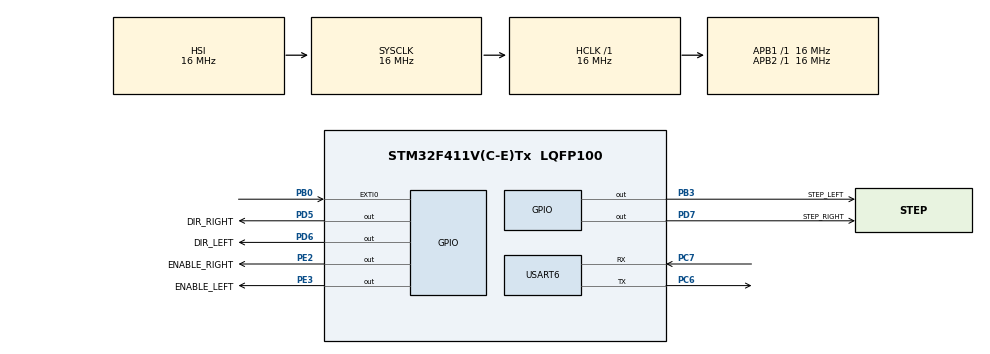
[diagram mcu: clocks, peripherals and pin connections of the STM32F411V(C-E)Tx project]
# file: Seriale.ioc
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Mcu.Family=STM32F4
Mcu.Name=STM32F411V(C-E)Tx
Mcu.Package=LQFP100
NVIC.EXTI0_IRQn=true\:0\:0\:false\:false\:true\:true\:true\:true
NVIC.PriorityGroup=NVIC_PRIORITYGROUP_4
NVIC.TIM2_IRQn=true\:0\:0\:false\:false\:true\:true\:true\:true
NVIC.USART6_IRQn=true\:0\:0\:false\:false\:true\:true\:true\:true
PB0.GPIO_ModeDefaultEXTI=GPIO_MODE_IT_RISING_FALLING
PB0.Signal=GPXTI0
PB3.GPIO_Label=STEP_LEFT
PB3.GPIO_ModeDefaultOutputPP=GPIO_MODE_OUTPUT_PP
PB3.GPIO_PuPd=GPIO_NOPULL
PB3.Signal=GPIO_Output
PC6.Mode=Asynchronous
PC6.Signal=USART6_TX
PC7.Mode=Asynchronous
PC7.Signal=USART6_RX
PD5.GPIO_Label=DIR_RIGHT
PD5.GPIO_ModeDefaultOutputPP=GPIO_MODE_OUTPUT_PP
PD5.GPIO_PuPd=GPIO_NOPULL
PD5.Signal=GPIO_Output
PD6.GPIO_Label=DIR_LEFT
PD6.GPIO_ModeDefaultOutputPP=GPIO_MODE_OUTPUT_PP
PD6.GPIO_PuPd=GPIO_NOPULL
PD6.Signal=GPIO_Output
PD7.GPIO_Label=STEP_RIGHT
PD7.GPIO_ModeDefaultOutputPP=GPIO_MODE_OUTPUT_PP
PD7.GPIO_PuPd=GPIO_NOPULL
PD7.Signal=GPIO_Output
PE2.GPIO_Label=ENABLE_RIGHT
PE2.Signal=GPIO_Output
PE3.GPIO_Label=ENABLE_LEFT
PE3.Signal=GPIO_Output
ProjectManager.HeapSize=0x200
ProjectManager.StackSize=0x400
ProjectManager.TargetToolchain=STM32CubeIDE
RCC.AHBFreq_Value=16000000
RCC.APB1Freq_Value=16000000
RCC.APB2Freq_Value=16000000
RCC.CortexFreq_Value=16000000
RCC.HSE_VALUE=25000000
RCC.HSI_VALUE=16000000
RCC.LSE_VALUE=32768
RCC.SYSCLKFreq_VALUE=16000000
RCC.VCOOutputFreq_Value=192000000
TIM2.Period=1
TIM2.Prescaler=3999
USART6.VirtualMode=VM_ASYNC
VP_TIM2_VS_ClockSourceINT.Mode=Internal
board=custom

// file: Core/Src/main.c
/* USER CODE BEGIN Header */
/**
  ******************************************************************************
  * @file           : main.c
  * @brief          : Main program body
  ******************************************************************************
  * @attention
  *
  * Copyright (c) 2024 STMicroelectronics.
  * All rights reserved.
  *
  * This software is licensed under terms that can be found in the LICENSE file
  * in the root directory of this software component.
  * If no LICENSE file comes with this software, it is provided AS-IS.
  *
  ******************************************************************************
  */
/* USER CODE END Header */
#include "main.h"

/* USER CODE BEGIN Includes */
#include <string.h>
#include <stdbool.h>
#include <stdlib.h>
#include <stdio.h>
#include <math.h>
#include <limits.h>
#include "mapOperations.h"
#include "memoryManager.h"
/* USER CODE END Includes */

TIM_HandleTypeDef htim2;

UART_HandleTypeDef huart6;

void SystemClock_Config(void);
static void MX_GPIO_Init(void);
static void MX_TIM2_Init(void);
static void MX_USART6_UART_Init(void);

/* USER CODE BEGIN 0 */

// serial variables
uint8_t rxBuffer[RX_BUFFER_SIZE];
uint8_t rxByte;
uint8_t rxIndex = 0;
char buffer[50];
uint8_t len;
char* message = "";

// number of steps of the machine
unsigned long counter = 0;

// number of steps that the machine has to do
unsigned long targetSteps = 0;

// number of steps to let the machine move slowly at the start
uint8_t counterDelay = 0;

// number of steps that the right motor has to do (because this motor is moving faster)
uint8_t stepRightCounter = 0;
bool stepOK = false;

/*
 * states of the program
 * 0 		: nothing
 * 1 -> 3 	: move the machine to the (0;0) coordinate
 * 10 -> 15	: move to a target coordinate
 */
uint8_t state = 0;

// States for when the machine is following the perimeter
typedef enum {
    STATE_INIT,
    STATE_DETERMINE_STOP_INDEX,
    STATE_MOVE_CLOCKWISE,
    STATE_MOVE_COUNTERCLOCKWISE,
    STATE_STOP,
	STATE_PERIMETER_COMPLETE,
	STATE_OBSTACLE_PERIMETER
} StatePerimeter;

// States for when the machine is going to a specific coordinate
typedef enum {
    STATE_CALCULATE_MOVEMENT,
    STATE_ROTATE,
    STATE_WAIT_FOR_ROTATION,
    STATE_MOVE_FORWARD,
    STATE_WAIT_FOR_MOVEMENT,
    STATE_UPDATE_POSITION,
    STATE_MOVE_TO_GOAL_COMPLETE,
	STATE_OBSTACLE_MOVE
} MoveToGoalState;

// States for when the machine is checking in which direction has to go
typedef enum {
    STATE_CHECK_DIRECTION_CHANGE,
    STATE_LOG_DIRECTION_CHANGE,
    STATE_CALCULATE_TARGET,
    STATE_MOVE_TO_TARGET,
    STATE_FINAL_POINT_LOG,
    STATE_SELECT_DIRECTION_COMPLETE,
	STATE_OBSTACLE_SELECT_DIRECTION
} SelectDirectionState;

// States for when the machine is going back to home (0,0)
typedef enum {
    STATE_FIND_SEGMENT,
    STATE_VERIFY_SEGMENT_FOUND,
    STATE_CALCULATE_PATH,
    STATE_FOLLOW_PATH_CLOCKWISE,
    STATE_FOLLOW_PATH_COUNTERCLOCKWISE,
    STATE_BACK_HOME_COMPLETE,
	STATE_OBSTACLE_HOME
} BackHomeState;

// States for when the machine is scanning the area
typedef enum {
    STATE_NORMAL,
    STATE_OBSTACLE,
	STATE_FINISHED
} ScanState;

StatePerimeter currentStatePerimeter = STATE_INIT; // Init state
MoveToGoalState currentStateMoveToGoal = STATE_CALCULATE_MOVEMENT; // Init state
SelectDirectionState currentStateDirection = STATE_CHECK_DIRECTION_CHANGE; // Init state
BackHomeState currentStateBackHome = STATE_FIND_SEGMENT; // Init state
ScanState stateScan = STATE_NORMAL; // Init state

// flag to stop the machine for emergency
bool stop = true;
// flag to indicate when the car has moved in the target location
bool moved = true;
//flag to indicate if there is an obstacle
bool obstacle = false;

// Flag to indicate whether the machine has moved forward to save the point in the track
bool forward = false;

// Flag to indicate whether the machine has moved backward to save the point in the track
bool backward = false;

// Flag to indicate whether the machine has moved to the right to track the number of steps and the corresponding angle change
bool right = false;

// Flag to indicate whether the machine has moved to the left to track the number of steps and the corresponding angle change
bool left = false;

// Current position of the machine in space
Point current_position = {0.0, 0.0};

// Current angle of the machine (initialized to π/2 radians, meaning it starts facing upwards)
double current_angle = M_PI / 2;

// Position of the home base
Point zero = {0.0, 0.0};

// Number of steps and rotation angle required for the machine
unsigned long steps = 0;
double rotation_angle = 0.0;
long rotation_steps = 0;

// Previous and current direction [0, 1, 2, 3, -1] -> [Up, Down, Right, Left]
int8_t previousDir;
int8_t dir;

// Column and row in the map where the process starts
int8_t startX, startY = 0;

// Rows and columns scanned vertically using the scanMatrix function
int8_t scanRows[60], scanColumns[60]; // Buffer for scan results

// Number of scans performed
uint8_t scanNumber = 0;

/**
 * @brief Handler for sensor interrupts.
 *
 * This function is called when an interrupt occurs on the GPIO pin 0. It calls the
 * `HAL_GPIO_EXTI_IRQHandler()` function to handle the interrupt for the pin.
 */
void EXTI0_0_IRQHandler(void){
	HAL_GPIO_EXTI_IRQHandler(GPIO_PIN_0);
}

/**
 * @brief Callback for sensor interrupt.
 *
 * This function is called when a GPIO interrupt is triggered. If the interrupt
 * is from GPIO pin 0, it checks the state of the obstacle sensor. If an obstacle
 * is detected, it calls `checkStates()`. Otherwise, it sends a message via UART
 * indicating that the area is free.
 *
 * @param GPIO_Pin The pin that triggered the interrupt.
 */
void HAL_GPIO_EXTI_Callback(uint16_t GPIO_Pin){
	if(GPIO_Pin == GPIO_PIN_0){
		obstacle = HAL_GPIO_ReadPin(GPIOB, GPIO_PIN_0);
		if(obstacle){
			checkStates();
		}else{
			stop = false;
			message = "Object Free!\n";
			HAL_UART_Transmit(&huart6, (uint8_t*)message, strlen(message), HAL_MAX_DELAY);
		}
	}
}

/**
 * @brief Callback function for receiving UART data.
 *
 * This function is called when UART data is received. It processes the received
 * byte, and when a newline character (`\n`) is detected, it processes the
 * complete string by calling `Process_Received_String()`. It then continues the
 * reception of data via UART.
 *
 * @param huart Pointer to the UART handle.
 */
void HAL_UART_RxCpltCallback(UART_HandleTypeDef *huart) {
    if (huart->Instance == USART6) {
        if (rxByte == '\n') {        // Controlla il terminatore '\n'
            rxBuffer[rxIndex] = '\0'; // Termina la stringa
            rxIndex = 0;              // Resetta l'indice per la prossima ricezione

            // Chiama la funzione per elaborare la stringa ricevuta
            Process_Received_String((char*)rxBuffer);

        } else if (rxByte != '\r') { // Ignora '\r'
            rxBuffer[rxIndex++] = rxByte; // Aggiungi il carattere al buffer
            if (rxIndex >= RX_BUFFER_SIZE) {
                rxIndex = 0; // Evita overflow del buffer
            }
        }

    	// Riavvia la ricezione del prossimo byte
    	HAL_UART_Receive_IT(&huart6, &rxByte, 1);
    }
}

/**
 * @brief Processes the received command string.
 *
 * This function processes the received command and performs the corresponding action
 * such as saving, erasing, checking the track, starting or stopping the robot, or controlling
 * the motors based on the parsed command. It sends status messages back via UART.
 *
 * @param str The command string received via UART.
 */
void Process_Received_String(char* str) {

    if(strcmp(str, "save") == 0){
    	save_polygon_to_flash();
    	message = "Track Saved\n";
    	HAL_UART_Transmit(&huart6, (uint8_t *)message, strlen(message), HAL_MAX_DELAY);
    }else if(strcmp(str, "erase") == 0){
    	erase_polygon();
    	message = "Track Deleted!\n";
    	HAL_UART_Transmit(&huart6, (uint8_t *)message, strlen(message), HAL_MAX_DELAY);
    }else if(strcmp(str, "check") == 0){
    	if(load_polygon_from_flash()){
    		message = "Track in memory\n";
    		HAL_UART_Transmit(&huart6, (uint8_t *)message, strlen(message), HAL_MAX_DELAY);
    	}else{
    		message = "Track not in memory\n";
    		HAL_UART_Transmit(&huart6, (uint8_t *)message, strlen(message), HAL_MAX_DELAY);
    	}
    }else if(strcmp(str, "start") == 0){
    	stop = false;
    	if(load_polygon_from_flash()){
    		message = "Track in memory\n";
    		HAL_UART_Transmit(&huart6, (uint8_t *)message, strlen(message), HAL_MAX_DELAY);
    		state = 10;
    	}else{
    		message = "Track not in memory\n";
    		HAL_UART_Transmit(&huart6, (uint8_t *)message, strlen(message), HAL_MAX_DELAY);
    	}
    }else if(strcmp(str, "stop") == 0){
    	stop = !stop;
    	if(stop){
    		message = "Machine stopped\n";
        	HAL_UART_Transmit(&huart6, (uint8_t *)message, strlen(message), HAL_MAX_DELAY);
    	}else{
    		message = "Machine in acrion\n";
        	HAL_UART_Transmit(&huart6, (uint8_t *)message, strlen(message), HAL_MAX_DELAY);
    	}

    }else if(strcmp(str, "home") == 0){
    	message = "Machine is going back Home...\n";
    	HAL_UART_Transmit(&huart6, (uint8_t *)message, strlen(message), HAL_MAX_DELAY);
    	state = 1;
    }else if(strcmp(str, "1") == 0){
    	//caso 1 verificato
    	add_boundary_point(0, 28000);
    	add_boundary_point(28000, 28000);
    	add_boundary_point(28000, 0);
    	add_boundary_point(0, 0);
    }else if(strcmp(str, "2") == 0){
    	//caso 2 verificato
    	add_boundary_point(-3500, 28000);
    	add_boundary_point(21000, 28000);
    	add_boundary_point(24500, 0);
    	add_boundary_point(0, 0);
    }else if(strcmp(str, "3") == 0){
    	//caso 3 verificato
    	add_boundary_point(3500, 28000);
    	add_boundary_point(28000, 28000);
    	add_boundary_point(24500, 0);
    	add_boundary_point(0, 0);
    }else if(strcmp(str, "4") == 0){
    	//caso 4 verificato
    	add_boundary_point(3500, 28000);
    	add_boundary_point(28000, 24500);
    	add_boundary_point(24500, 3500);
    	add_boundary_point(0, 0);
    }else if(strcmp(str, "5") == 0){
    	//caso 5 verificato:
    	add_boundary_point(0, 28000);
    	add_boundary_point(-28000, 28000);
    	add_boundary_point(-28000, 0);
    	add_boundary_point(0, 0);
    }else if(strcmp(str, "6") == 0){
    	//caso 6 verificato:
    	add_boundary_point(0, -28000);
    	add_boundary_point(-28000, -28000);
    	add_boundary_point(-28000, 0);
    	add_boundary_point(0, 0);
    }else if(strcmp(str, "7") == 0){
    	//caso 7 verificato:
    	add_boundary_point(0, 10500);
    	add_boundary_point(10500, 10500);
    	add_boundary_point(10500, 21000);
    	add_boundary_point(0, 21000);
    	add_boundary_point(0, 28000);
    	add_boundary_point(17500, 28000);
    	add_boundary_point(17500, 21000);
    	add_boundary_point(24500, 21000);
    	add_boundary_point(24500, 28000);
    	add_boundary_point(28000, 28000);
    	add_boundary_point(28000, 0);
    	add_boundary_point(0, 0);
    }else {
        // Find ':' and ';' characters in the string
        char *colon_ptr = strchr(str, ':');
        char *semicolon_ptr = strchr(str, ';');

        // Verify that both characters are present and in the correct position
        if (colon_ptr != NULL && semicolon_ptr != NULL && semicolon_ptr > colon_ptr) {
            if(state == 0){
                *semicolon_ptr = '\0';  // Terminate the string after the second part
                char *part1 = str;
                char *part2 = colon_ptr + 1;

                *colon_ptr = '\0';  // Terminate the first part

                // Convert parts to integers
                int angle = atoi(part1);
                int force = atoi(part2);

                // Use angle and power as needed
                len = snprintf(buffer, sizeof(buffer), "%d:%d;\n", angle, force);
                HAL_UART_Transmit(&huart6, (uint8_t*)buffer, len, HAL_MAX_DELAY);

                Control_Motors(angle, force);
            } else {
                message = "Mower still in motion, please wait for the process to complete\n";
                HAL_UART_Transmit(&huart6, (uint8_t *)buffer, strlen(message), HAL_MAX_DELAY);
            }
        } else {
            len = snprintf(buffer, sizeof(buffer), "Not valid: %s", str);
            HAL_UART_Transmit(&huart6, (uint8_t*)buffer, len, HAL_MAX_DELAY);
        }
    }
}

/**
 * @brief Controls the robot motors based on the received angle and force.
 *
 * This function processes the received angle and force parameters and moves the
 * robot accordingly. If both values are zero, the robot stops. Otherwise, it
 * moves the robot in the direction specified by the angle (forward, backward,
 * left, or right).
 *
 * @param angle The desired angle of movement (0 for right, 90 for forward,
 *              180 for left, and 270 for backward).
 * @param force The force to apply for the movement (affects motor speed or power).
 */
void Control_Motors(int angle, int force) {
    // If both angle and force are zero, stop the machine
    if(angle == 0 && force == 0){
        stop = true;
        if(forward){
            forward = false;
            add_forward(counter);
        } else if(backward){
            backward = false;
            add_backward(counter);
        } else if(left){
            left = false;
            float angleLeft = calcolaAngoloRotazione(counter);
            add_left(angleLeft);
        } else if(right){
            right = false;
            float angleRight = calcolaAngoloRotazione(counter);
            add_right(angleRight);
        }
    } else {
        // Move the machine based on the command received
        if(angle == 90){
            move_forward(0, ULONG_MAX);
            forward = true;
        } else if(angle == 270){
            move_backward(0, ULONG_MAX);
            backward = true;
        } else if(angle == 180){
            move_left(0, ULONG_MAX);
            left = true;
        } else if (angle == 0){
            move_right(0, ULONG_MAX);
            right = true;
        }
    }
}

/**
 * @brief Timer interrupt callback for motor step generation.
 *
 * This callback is triggered by a timer interrupt and is responsible for generating
 * steps for the motors. The function checks whether the robot should continue
 * moving or if the movement should stop based on the target step count. It manages
 * the step generation for both the left and right motors, ensuring proper synchronization.
 *
 * @param htim The timer handle associated with the interrupt.
 */
void HAL_TIM_PeriodElapsedCallback(TIM_HandleTypeDef *htim) {
    // My motor is set to 1/8 step, so 200 * 8 to complete a full revolution * 2 because this timer toggles
    if (htim->Instance == TIM2) {
        if (!stop) {
            // Perform the desired operation at 2 kHz
            if (targetSteps > counter) {
                if (counter < 50) {
                    counterDelay++;
                    if (counterDelay >= 4) {
                        stepOK = true;
                    }
                } else if (counter < 100) {
                    counterDelay++;
                    if (counterDelay >= 3) {
                        stepOK = true;
                    }
                } else if (counter < 150) {
                    counterDelay++;
                    if (counterDelay >= 2) {
                        stepOK = true;
                    }
                } else {
                    stepOK = true;
                }

                if (stepOK == true) {
                    // Left motor step
                    HAL_GPIO_TogglePin(STEP_LEFT_GPIO_Port, STEP_LEFT_Pin);

                    stepRightCounter++;
                    if (stepRightCounter >= 100) { // Every 70 steps of the left motor, the right motor skips 1, reducing by a total percentage
                        stepRightCounter = 0;  // Reset the counter for the right motor
                    } else {
                        HAL_GPIO_TogglePin(GPIOD, STEP_RIGHT_Pin);  // Right motor step
                    }
                    counter++;
                    stepOK = false;
                    counterDelay = 0;
                }
            } else {
                moved = true;
            }
        }
    }
}

/**
 * @brief Moves the robot forward.
 *
 * This function enables the motors and sets the direction pins to move the robot forward.
 * It sets the `stop` flag to `false` (indicating that the robot should move), and initializes the movement counter and target steps.
 *
 * @param cnt The current step count (starting point for the movement).
 * @param trgStep The target step count (number of steps to be taken).
 */
void move_forward(unsigned long cnt, unsigned long trgStep){
    // Enable the motors by setting the enable pins to active low
    HAL_GPIO_WritePin(GPIOE, ENABLE_LEFT_Pin, GPIO_PIN_RESET);
    HAL_GPIO_WritePin(GPIOE, ENABLE_RIGHT_Pin, GPIO_PIN_RESET);

    // Set the direction for forward movement
    // LEFT motor: Reset direction (forward)
    // RIGHT motor: Set direction (forward)
    HAL_GPIO_WritePin(GPIOD, DIR_LEFT_Pin, GPIO_PIN_RESET);
    HAL_GPIO_WritePin(GPIOD, DIR_RIGHT_Pin, GPIO_PIN_SET);

    // Set flags and counters for movement
    stop = false;     // Robot is not stopped, so it will move
    moved = false;    // Movement has not been completed yet
    counter = cnt;    // Set the current count of steps
    targetSteps = trgStep;  // Set the target step count
}

/**
 * @brief Moves the robot backward.
 *
 * This function enables the motors and sets the direction pins to move the robot backward.
 * It sets the `stop` flag to `false` (indicating that the robot should move), and initializes the movement counter and target steps.
 *
 * @param cnt The current step count (starting point for the movement).
 * @param trgStep The target step count (number of steps to be taken).
 */
void move_backward(unsigned long cnt, unsigned long trgStep){
    // Enable the motors by setting the enable pins to active low
    HAL_GPIO_WritePin(GPIOE, ENABLE_LEFT_Pin, GPIO_PIN_RESET);
    HAL_GPIO_WritePin(GPIOE, ENABLE_RIGHT_Pin, GPIO_PIN_RESET);

    // Set the direction for backward movement
    // LEFT motor: Set direction (backward)
    // RIGHT motor: Reset direction (backward)
    HAL_GPIO_WritePin(GPIOD, DIR_LEFT_Pin, GPIO_PIN_SET);
    HAL_GPIO_WritePin(GPIOD, DIR_RIGHT_Pin, GPIO_PIN_RESET);

    // Set flags and counters for movement
    stop = false;     // Robot is not stopped, so it will move
    moved = false;    // Movement has not been completed yet
    counter = cnt;    // Set the current count of steps
    targetSteps = trgStep;  // Set the target step count
}

/**
 * @brief Moves the robot to the right.
 *
 * This function enables the motors and sets the direction pins to move the robot to the right.
 * It sets the `stop` flag to `false` (indicating that the robot should move), and initializes the movement counter and target steps.
 *
 * @param cnt The current step count (starting point for the movement).
 * @param trgStep The target step count (number of steps to be taken).
 */
void move_right(unsigned long cnt, unsigned long trgStep){
    // Enable the motors by setting the enable pins to active low
    HAL_GPIO_WritePin(GPIOE, ENABLE_LEFT_Pin, GPIO_PIN_RESET);
    HAL_GPIO_WritePin(GPIOE, ENABLE_RIGHT_Pin, GPIO_PIN_RESET);

    // Set the direction for right movement
    // LEFT motor: Reset direction (forward)
    // RIGHT motor: Reset direction (forward)
    HAL_GPIO_WritePin(GPIOD, DIR_LEFT_Pin, GPIO_PIN_RESET);
    HAL_GPIO_WritePin(GPIOD, DIR_RIGHT_Pin, GPIO_PIN_RESET);

    // Set flags and counters for movement
    stop = false;     // Robot is not stopped, so it will move
    moved = false;    // Movement has not been completed yet
    counter = cnt;    // Set the current count of steps
    targetSteps = trgStep;  // Set the target step count
}

/**
 * @brief Moves the robot to the left.
 *
 * This function enables the motors and sets the direction pins to move the robot to the left.
 * It sets the `stop` flag to `false` (indicating that the robot should move), and initializes the movement counter and target steps.
 *
 * @param cnt The current step count (starting point for the movement).
 * @param trgStep The target step count (number of steps to be taken).
 */
void move_left(unsigned long cnt, unsigned long trgStep){
    // Enable the motors by setting the enable pins to active low
    HAL_GPIO_WritePin(GPIOE, ENABLE_LEFT_Pin, GPIO_PIN_RESET);
    HAL_GPIO_WritePin(GPIOE, ENABLE_RIGHT_Pin, GPIO_PIN_RESET);

    // Set the direction for left movement
    // LEFT motor: Set direction (backward)
    // RIGHT motor: Set direction (backward)
    HAL_GPIO_WritePin(GPIOD, DIR_LEFT_Pin, GPIO_PIN_SET);
    HAL_GPIO_WritePin(GPIOD, DIR_RIGHT_Pin, GPIO_PIN_SET);

    // Set flags and counters for movement
    stop = false;     // Robot is not stopped, so it will move
    moved = false;    // Movement has not been completed yet
    counter = cnt;    // Set the current count of steps
    targetSteps = trgStep;  // Set the target step count
}

/**
 * @brief Moves the robot along the perimeter of the defined boundaries.
 *
 * The robot follows the perimeter in either a clockwise or counterclockwise direction
 * until it reaches the stop point, which is determined based on the target position.
 * If no target is provided, the robot completes a full perimeter loop.
 *
 * @param target Pointer to the target Point where the robot should stop. If NULL,
 *               the robot completes the entire perimeter.
 * @param clockwise Boolean indicating the direction of movement:
 *                  - true: move clockwise
 *                  - false: move counterclockwise
 */
void followPerimeter(Point* target, bool clockwise) {
    currentStatePerimeter = STATE_INIT; // Initial state
    int stop_index = -1;
    bool completed = false; // Completion flag

    while (!completed) {
        switch (currentStatePerimeter) {
            case STATE_INIT:
                // Initialize state
                stop_index = -1; // Reset stop_index
                currentStatePerimeter = STATE_DETERMINE_STOP_INDEX; // Move to the next state
                break;

            case STATE_DETERMINE_STOP_INDEX:
                if (target != NULL) {
                    for (int i = 0; i < boundary_count; i++) {
                        Point p1 = boundaries[i];
                        Point p2 = boundaries[(i + 1) % boundary_count];
                        if (isPointBetweenTwoPoints(*target, p1, p2)) {
                            stop_index = clockwise ? (i + 1) % boundary_count : i;
                            break;
                        }
                    }
                }
                // Determine the next state based on the direction
                currentStatePerimeter = clockwise ? STATE_MOVE_CLOCKWISE : STATE_MOVE_COUNTERCLOCKWISE;
                break;

            case STATE_MOVE_CLOCKWISE:
                for (int i = 0; i < boundary_count; i++) {
                    // Stop if we reach stop_index
                    if (stop_index != -1 && i == stop_index) {
                        currentStatePerimeter = STATE_STOP; // Move to STOP state
                        return;  // Exit function if stop_index is reached
                    }

                    Point goal = boundaries[i];
                    moveToGoal(goal);  // Move the robot toward the goal point
                }
                currentStatePerimeter = STATE_PERIMETER_COMPLETE; // Move to STOP state
                break;

            case STATE_MOVE_COUNTERCLOCKWISE:
                // Counterclockwise movement: start from boundary_count - 2 and go down to 0, then the last point
                for (int i = boundary_count - 2; i >= 0; i--) {
                    // Stop if we reach stop_index
                    if (stop_index != -1 && i == stop_index) {
                        currentStatePerimeter = STATE_STOP; // Move to STOP state
                        return;  // Exit function if stop_index is reached
                    }

                    Point goal = boundaries[i];
                    moveToGoal(goal);  // Move the robot toward the goal point
                }
                // After reaching the last point (boundary_count - 1)
                Point lastGoal = boundaries[boundary_count - 1];
                moveToGoal(lastGoal);  // Move the robot to the last point

                currentStatePerimeter = STATE_PERIMETER_COMPLETE; // Move to STOP state
                break;

            case STATE_STOP:
                // Final state
                completed = true; // Exit loop
                break;

            case STATE_OBSTACLE_PERIMETER:
                break;

            default:
                // Handle unknown state error
                completed = true; // Terminate with an error
                break;
        }
    }
}

/**
 * @brief Moves the robot towards a specified goal point.
 *
 * This function controls the movement of the robot in a state-based manner.
 * It calculates the necessary steps and rotation angle, executes the rotation,
 * moves forward to the goal, and updates the robot's position upon completion.
 *
 * @param goal The target point the robot should move towards.
 */
void moveToGoal(Point goal) {
    currentStateMoveToGoal = STATE_CALCULATE_MOVEMENT; // Initial state
    unsigned long steps = 0;   // Number of movement steps required
    double rotation_angle = 0; // Angle required to reach the goal
    long rotation_steps = 0;   // Steps required to rotate

    while (1) {
        switch (currentStateMoveToGoal) {
            case STATE_CALCULATE_MOVEMENT:
                // Calculate the number of steps and rotation angle needed to reach the goal
                calculate_steps_and_angle(goal, &steps, &rotation_angle);
                rotation_steps = calcolaNumeroPassiRotazione(rotation_angle);
                currentStateMoveToGoal = STATE_ROTATE; // Transition to rotation state
                break;

            case STATE_ROTATE:
                // Perform rotation to align with the goal
                if (rotation_steps < 0) {
                    move_right(0, (unsigned long)labs(rotation_steps));  // Rotate right
                } else if (rotation_steps > 0) {
                    move_left(0, (unsigned long)rotation_steps);  // Rotate left
                }
                currentStateMoveToGoal = STATE_WAIT_FOR_ROTATION; // Transition to wait state
                break;

            case STATE_WAIT_FOR_ROTATION:
                // Wait until rotation is complete
                if (moved) {
                    currentStateMoveToGoal = STATE_MOVE_FORWARD; // Proceed to forward movement
                }
                break;

            case STATE_MOVE_FORWARD:
                // Move forward towards the goal
                move_forward(0, steps);
                currentStateMoveToGoal = STATE_WAIT_FOR_MOVEMENT; // Transition to movement wait state
                break;

            case STATE_WAIT_FOR_MOVEMENT:
                // Wait until forward movement is complete
                if (moved) {
                    currentStateMoveToGoal = STATE_UPDATE_POSITION; // Proceed to update position
                }
                break;

            case STATE_UPDATE_POSITION:
                // Update the robot's position and current angle
                current_position = goal;
                current_angle += rotation_angle;
                currentStateMoveToGoal = STATE_MOVE_TO_GOAL_COMPLETE; // Mark movement as complete
                break;

            case STATE_MOVE_TO_GOAL_COMPLETE:
                // Final state: exit the function
                return;

            case STATE_OBSTACLE_MOVE:
                // Handle movement in the presence of obstacles
                current_angle += rotation_angle;
                current_position.x = current_position.x + counter * cos(current_angle);
                current_position.y = current_position.y + counter * sin(current_angle);
                return;

            default:
                // Unknown state: exit with an error
                return;
        }
    }
}

/**
 * @brief Selects the direction and moves the robot accordingly.
 *
 * This function manages the process of checking and logging direction changes,
 * calculating the target position, and moving towards it. It ensures that the
 * robot correctly follows its path and logs significant direction changes.
 *
 * @param previousDir The previous movement direction of the robot.
 * @param dir The new movement direction.
 * @param node Pointer to the target node (destination).
 */
void selectDirection(int previousDir, int dir, Node* node) {
    currentStateDirection = STATE_CHECK_DIRECTION_CHANGE; // Initial state
    Point target = {0, 0};  // Target position for movement
    int8_t current_row = 0;
    int8_t current_column = 0;
    int8_t diffRows = 0;
    int8_t diffColumns = 0;
    bool directionLogged = false; // Tracks if direction change has been logged

    while (1) {
        switch (currentStateDirection) {
            case STATE_CHECK_DIRECTION_CHANGE:
                // Check if a direction change should be logged
                if (dir != previousDir && dir != -1 && previousDir != -2) {
                    currentStateDirection = STATE_LOG_DIRECTION_CHANGE;
                } else if (dir == -1) {
                    currentStateDirection = STATE_FINAL_POINT_LOG;
                } else {
                    currentStateDirection = STATE_SELECT_DIRECTION_COMPLETE;
                }
                break;

            case STATE_LOG_DIRECTION_CHANGE:
                // Log the direction change
                if (!directionLogged) {
                    len = snprintf(buffer, sizeof(buffer),
                                   "Cambio direzione al punto (%d, %d)\n",
                                   node->column, node->row);
                    HAL_UART_Transmit(&huart6, (uint8_t*)buffer, len, HAL_MAX_DELAY);
                    directionLogged = true;
                }
                // Find the robot's current node position
                findNode(current_position, &current_row, &current_column);
                diffRows = abs(node->row - current_row);
                diffColumns = abs(node->column - current_column);
                currentStateDirection = STATE_CALCULATE_TARGET;
                break;

            case STATE_CALCULATE_TARGET:
                // Determine the target point based on the previous direction
                if (previousDir == 0 || previousDir == 1) { // Moving Up or Down
                    target.x = current_position.x;
                    target.y = node->row * cellSize - abs(minY);
                } else if (previousDir == 2 || previousDir == 3) { // Moving Right or Left
                    target.x = node->column * cellSize - abs(minX);
                    target.y = current_position.y;
                } else { // No movement change
                    target.x = current_position.x;
                    target.y = current_position.y;
                }
                currentStateDirection = STATE_MOVE_TO_TARGET;
                break;

            case STATE_MOVE_TO_TARGET:
                // Move the robot to the calculated target
                moveToGoal(target);
                if (currentStateDirection != STATE_OBSTACLE_SELECT_DIRECTION) {
                    currentStateDirection = STATE_SELECT_DIRECTION_COMPLETE;
                }
                break;

            case STATE_FINAL_POINT_LOG:
                // Log the final point
                len = snprintf(buffer, sizeof(buffer),
                               "Punto finale: (%d, %d)\n",
                               node->column, node->row);
                HAL_UART_Transmit(&huart6, (uint8_t*)buffer, len, HAL_MAX_DELAY);

                // Find the robot's current node position
                findNode(current_position, &current_row, &current_column);
                diffRows = abs(node->row - current_row);
                diffColumns = abs(node->column - current_column);

                // Determine the correct target point
                if (diffRows > 0 || diffColumns > 0) {
                    if (diffRows > 0) {
                        target.x = current_position.x;
                        target.y = node->row * cellSize - abs(minY);
                    } else {
                        target.x = node->column * cellSize - abs(minX);
                        target.y = current_position.y;
                    }
                }
                currentStateDirection = STATE_MOVE_TO_TARGET;
                break;

            case STATE_SELECT_DIRECTION_COMPLETE:
                // Movement process completed successfully
                return;

            case STATE_OBSTACLE_SELECT_DIRECTION:
                // Handle obstacle detection and update state
                stateScan = STATE_OBSTACLE;
                return;

            default:
                // Unknown state, terminate
                return;
        }
    }
}

/**
 * @brief Navigate the robot back to its home position (point (0,0)) along the polygon boundary.
 *
 * This function handles the process of moving the robot back to its starting point
 * by navigating along the polygon boundary in either a clockwise or counterclockwise direction.
 * It checks which direction would take the robot to its destination in the shortest number of steps
 * and moves the robot along the selected path.
 */
void backHome() {
    currentStateBackHome = STATE_FIND_SEGMENT;  // Initial state: search for the segment containing the current position
    int start_index = -1;  // Index of the segment where the robot currently is
    int target_index = boundary_count - 1;  // The index of the home point (0,0) in the boundary list
    int clockwise_steps = 0;  // Number of steps to reach the home point clockwise
    int counterclockwise_steps = 0;  // Number of steps to reach the home point counterclockwise
    bool clockwise = true;  // Flag indicating the selected direction (clockwise or counterclockwise)
    int index = 0;  // Index for traversing the boundary
    Point next_goal;  // The next point on the path to move to

    while (1) {
        switch (currentStateBackHome) {
            case STATE_FIND_SEGMENT:
                // Find the segment where the robot is currently located
                for (int i = 0; i < boundary_count; i++) {
                    Point p1 = boundaries[i];  // First point of the segment
                    Point p2 = boundaries[(i + 1) % boundary_count];  // Second point of the segment
                    if (isPointBetweenTwoPoints(current_position, p1, p2)) {
                        start_index = i;  // Set the index of the segment where the robot is
                        break;
                    }
                }
                currentStateBackHome = STATE_VERIFY_SEGMENT_FOUND;  // Move to the next state to verify the segment
                break;

            case STATE_VERIFY_SEGMENT_FOUND:
                // Check if the robot is on a valid segment
                if (start_index == -1) {
                    currentStateBackHome = STATE_BACK_HOME_COMPLETE;  // No valid segment found, exit the function
                } else {
                    currentStateBackHome = STATE_CALCULATE_PATH;  // Proceed to calculate the path
                }
                break;

            case STATE_CALCULATE_PATH:
                // Calculate the shortest path to the home point, both clockwise and counterclockwise
                clockwise_steps = (target_index - start_index + boundary_count) % boundary_count;
                counterclockwise_steps = (start_index - target_index + boundary_count) % boundary_count;

                // Decide the shortest path (clockwise or counterclockwise)
                clockwise = (clockwise_steps <= counterclockwise_steps);

                // Set the initial index for following the path
                if (clockwise) {
                    index = (start_index + 1) % boundary_count;  // Start moving clockwise from the next segment
                    currentStateBackHome = STATE_FOLLOW_PATH_CLOCKWISE;
                } else {
                    index = start_index;  // Start moving counterclockwise from the current segment
                    currentStateBackHome = STATE_FOLLOW_PATH_COUNTERCLOCKWISE;
                }
                break;

            case STATE_FOLLOW_PATH_CLOCKWISE:
                // Move clockwise along the boundary towards the home point (0,0)
                next_goal = boundaries[index];  // The next point on the boundary
                moveToGoal(next_goal);  // Move to the goal
                if (index == target_index) {
                    currentStateBackHome = STATE_BACK_HOME_COMPLETE;  // If the home point is reached, exit
                } else {
                    index = (index + 1) % boundary_count;  // Move to the next segment clockwise
                }
                break;

            case STATE_FOLLOW_PATH_COUNTERCLOCKWISE:
                // Move counterclockwise along the boundary towards the home point (0,0)
                next_goal = boundaries[index];  // The next point on the boundary
                moveToGoal(next_goal);  // Move to the goal
                if (index == target_index) {
                    currentStateBackHome = STATE_BACK_HOME_COMPLETE;  // If the home point is reached, exit
                } else {
                    index = (index - 1 + boundary_count) % boundary_count;  // Move to the previous segment counterclockwise
                }
                break;

            case STATE_BACK_HOME_COMPLETE:
                // Final state: exit the function once the home point is reached
                return;

            case STATE_OBSTACLE_HOME:
                // Handle obstacle detection while returning home (not implemented in this code)
                break;

            default:
                // Emergency exit for unknown states
                return;
        }
    }
}

/**
 * @brief Checks the current state and handles obstacle detection and response during navigation.
 *
 * This function monitors the robot's state and reacts accordingly when an obstacle is detected.
 * It handles two cases: one for internal polygon scanning (when the robot is moving toward a target)
 * and another for all other cases where the robot should stop and wait for the obstacle to be cleared.
 */
void checkStates() {
    switch (state) {
        case 14:
            // Internal scanning of the polygon
            switch (currentStateDirection) {
                case STATE_MOVE_TO_TARGET:
                    // If the robot is moving towards a target and detects an obstacle
                    stop = true;  // Stop the robot
                    obstacle = false;  // Reset obstacle flag
                    currentStateMoveToGoal = STATE_OBSTACLE_MOVE;  // Change the state to handle obstacle
                    currentStateDirection = STATE_OBSTACLE_SELECT_DIRECTION;  // Change direction state to obstacle handling

                    // Log the obstacle detection and recalculation of the path
                    len = snprintf(buffer, sizeof(buffer), "Obstacle detected! Recalculating path...\n");
                    HAL_UART_Transmit(&huart6, (uint8_t*)buffer, len, HAL_MAX_DELAY);
                    break;

                default:
                    // For other cases when an obstacle is detected
                    stop = true;  // Stop the robot
                    // Log the obstacle detection and the need to clear it
                    len = snprintf(buffer, sizeof(buffer), "Obstacle detected! Clear the obstacle\n");
                    HAL_UART_Transmit(&huart6, (uint8_t*)buffer, len, HAL_MAX_DELAY);
                    break;
            }
            break;

        default:
            // For all other cases, stop the robot and wait for the obstacle to be cleared
            stop = true;  // Stop the robot
            // Log the obstacle detection and the need to clear it
            len = snprintf(buffer, sizeof(buffer), "Obstacle detected! Clear the obstacle\n");
            HAL_UART_Transmit(&huart6, (uint8_t*)buffer, len, HAL_MAX_DELAY);
            break;
    }
}

/* USER CODE END 0 */

int main(void)
{

  /* MCU Configuration--------------------------------------------------------*/

  /* Reset of all peripherals, Initializes the Flash interface and the Systick. */
  HAL_Init();

  /* Configure the system clock */
  SystemClock_Config();

  /* Initialize all configured peripherals */
  MX_GPIO_Init();
  MX_TIM2_Init();
  MX_USART6_UART_Init();
  /* USER CODE BEGIN 2 */

  // Avvia il timer e la seriale in modalità interrupt
  HAL_TIM_Base_Start_IT(&htim2);  // Se usi TIM2
  HAL_UART_Receive_IT(&huart6, &rxByte, 1); // Ricevi un byte alla volta

  //disabilito i motori
  HAL_GPIO_WritePin(GPIOE, ENABLE_LEFT_Pin, GPIO_PIN_SET);
  HAL_GPIO_WritePin(GPIOE, ENABLE_RIGHT_Pin, GPIO_PIN_SET);
  /*Configure GPIO pin Output Level */

  /* USER CODE END 2 */

  /* Infinite loop */
  while (1)
  {

    /* USER CODE BEGIN 3 */
	  switch (state) {
	  	  case 0:
	  		  break;
	  	  case 1:
	  		  // move the machine to coordinate (0,0)
	  		  moveToGoal(zero);
	  		  state = 2;
	  		  currentStateMoveToGoal = STATE_CALCULATE_MOVEMENT;
	  		  break;
	      case 2:
	    	  //turn forward

	    	  // calculate steps between current angle and PI/2 (forward rotation)
	    	  float angle = M_PI/2 - current_angle;
	    	  // Normalize between -pi e pi
	    	  if (angle > M_PI){
	    		  angle -= 2 * M_PI;
	    	  }
			  else if (angle < -M_PI){
				  angle += 2 * M_PI;
			  }

	    	  rotation_steps = calcolaNumeroPassiRotazione(angle);

	    	  if (rotation_steps < 0) {
	    		  move_right(0, labs(rotation_steps));  // turn right
	    	  } else if (rotation_steps > 0) {
	    		  move_left(0, labs(rotation_steps));  // turn left
	    	  }
	    	  state = 3;
	          break;
	      case 3:
	    	  // wait until the machine is complete rotated and be ready for the next comand
	    	  if(moved){
	    		  current_angle = M_PI/2;
	    		  add_boundary_point(current_position.x, current_position.y);
		    	  HAL_GPIO_WritePin(GPIOE, ENABLE_LEFT_Pin, GPIO_PIN_SET);
		    	  HAL_GPIO_WritePin(GPIOE, ENABLE_RIGHT_Pin, GPIO_PIN_SET);
	    		  state = 0;
	    	  }
	    	  break;
	      case 10:
	    	  // follow the perimeter
			  followPerimeter(NULL, true);
			  message = "Perimeter concluded!\n";
	    	  HAL_UART_Transmit(&huart6, (uint8_t*)message, strlen(message), HAL_MAX_DELAY);
	    	  state = 11;
	    	  break;
	      case 11:
	    	  // creation of the polygon map
	    	  if(createNodes()){
	    		  state = 12;
	    	  }else{
	    		  state = 0;
	    	  }
	    	  break;
	      case 12:
	    	  // scan the internal area
	    	  message = "Scan:\n";
	    	  HAL_UART_Transmit(&huart6, (uint8_t*)message, strlen(message), HAL_MAX_DELAY);

	    	  current_position = zero;
	    	  int8_t startRow = 0;
	    	  int8_t startColumn = 0;
	    	  uint8_t index = 0;

	    	  scanMatrix(scanRows, scanColumns, &scanNumber);
	    	  printMatrix(scanRows, scanColumns, scanNumber);
	    	  state = 13;
	    	  break;
	      case 13:
	    	  // find and go to the initial point to scan the entire polygon
    		  findNode(current_position, &startRow, &startColumn);
    		  len = snprintf(buffer, sizeof(buffer), "Track: (%d, %d) -> (%d, %d)\n", startColumn, startRow, scanColumns[0], scanRows[0]);
    		  HAL_UART_Transmit(&huart6, (uint8_t*)buffer, len, HAL_MAX_DELAY);

    		  Node* currentNode = NULL;
    		  if(scanRows[0] != startRow || scanColumns[0] != startColumn){
        		  currentNode = findShortestPathAStar(scanRows[0], scanColumns[0], startRow, startColumn);
    		  }

    		  if(currentNode == NULL){
    			  // if don't find a path to the initial point, move using the perimeter to reach the point
    			  len = snprintf(buffer, sizeof(buffer), "Unreachable node, path to: (%d, %d)\n", scanColumns[0], scanRows[0]);
    			  HAL_UART_Transmit(&huart6, (uint8_t*)buffer, len, HAL_MAX_DELAY);

    			  Node* wallNode = findNearestWall(scanRows[0], scanColumns[0]);

    			  if(wallNode != NULL){
    				  len = snprintf(buffer, sizeof(buffer), "going to (%d, %d)\n", wallNode->column, wallNode->row);
    				  HAL_UART_Transmit(&huart6, (uint8_t*)buffer, len, HAL_MAX_DELAY);

    				  double resultX, resultY = 0.0;
    				  if(findPositionOnSegment(wallNode->row, wallNode->column, &resultX, &resultY)){
    					  len = snprintf(buffer, sizeof(buffer), "position: (%d, %d)\n", (int) round(resultX), (int) round(resultY));
    					  HAL_UART_Transmit(&huart6, (uint8_t*)buffer, len, HAL_MAX_DELAY);

    					  Point target = {round(resultX), round(resultY)};

    					  bool clockwise = false;
    					  shortestDirection(target, &clockwise);

    					  followPerimeter(&target, clockwise);

    			    	  moveToGoal(target);
    				  }else{
    					  message = "point found outside the polygon, error!\n";
    					  HAL_UART_Transmit(&huart6, (uint8_t *)message, strlen(message), HAL_MAX_DELAY);
    					  state = 0;
    					  break;
    				  }

    				  //at this point I am at the entry point of the polygon, I go towards the starting point of the scan
    				  wallNode = wallNode->parent;

    				  previousDir = -2; // Initial direction non-existent

    				  while (wallNode) {
    					  dir = wallNode->direction;

    					  selectDirection(previousDir, dir, wallNode);

    					  wallNode = wallNode->parent;

    					  previousDir = dir;
    				  }
    				  index++;

    			  }else{
    				  //didn't find a path to get to the starting point, go to state 0
    				  message = "I have no way to enter the range, change map!\n";
    				  HAL_UART_Transmit(&huart6, (uint8_t *)message, strlen(message), HAL_MAX_DELAY);
    				  state = 0;
    				  break;
    			  }
    		  }
    		  //I found a path to get to the starting point, so I'll go there
    		  state = 14;
	    	  break;
	      case 14:
	    	  switch (stateScan) {
	    	  case STATE_NORMAL:
	    		  if (currentNode == NULL) {
	    			  // Find the starting node
	    			  findNode(current_position, &startRow, &startColumn);
	    			  // Search for the first point to start the scan
	    			  len = snprintf(buffer, sizeof(buffer),
	    					  "Track: (%d, %d) -> (%d, %d)\n",
							  startColumn, startRow, scanColumns[index], scanRows[index]);
	    			  HAL_UART_Transmit(&huart6, (uint8_t*)buffer, len, HAL_MAX_DELAY);

	    			  // Find the shortest path to the scan point
	        		  if(scanRows[index] != startRow || scanColumns[index] != startColumn){
	        			  currentNode = findShortestPathAStar(scanRows[index], scanColumns[index],startRow, startColumn);
	        		  }
	    		  }
	    		  previousDir = -2;
	    		  // Follow the path to the current point
	    		  while (currentNode) {
	    			  dir = currentNode->direction;
	    			  selectDirection(previousDir, dir, currentNode);

	    			  // Check if an obstacle has been detected
	    			  if (stateScan == STATE_OBSTACLE) {
	    				  break;
	    			  }

	    			  currentNode = currentNode->parent;
	    			  previousDir = dir;
	    		  }

	    		  if (stateScan != STATE_OBSTACLE) {
	    			  // Move to the next point if there is no obstacle
	    			  index++;
	    			  if (index == scanNumber) {
	    				  // Scan finished, go home
	    				  stateScan = STATE_FINISHED;
	    			  }
	    		  }
	    		  break;
	    	  case STATE_OBSTACLE:
	    		  // Recalculate the route with A*
	    		  findNode(current_position, &startRow, &startColumn);
	    		  int obstacleRow = 0;
	    		  int obstacleColumn = 0;

	    		  if(previousDir == -2){
	    			  if(dir == 0){
	    				  //I have an obstacle above me
	    				  nodes[startRow+1][startColumn].isObstacle = true;
	    				  obstacleRow = startRow+1;
	    				  obstacleColumn = startColumn;
	    				  currentNode = findShortestPathAStar(scanRows[index], scanColumns[index], startRow, startColumn);
	    			  }else if(dir == 1){
	    				  //I have an obstacle under me
	    				  nodes[startRow-1][startColumn].isObstacle = true;
	    				  obstacleRow = startRow-1;
	    				  obstacleColumn = startColumn;
	    				  currentNode = findShortestPathAStar(scanRows[index], scanColumns[index], startRow, startColumn);
	    			  }else if(dir == 2){
	    				  //I have an obstacle on the right
	    				  nodes[startRow][startColumn + 1].isObstacle = true;
	    				  obstacleRow = startRow;
	    				  obstacleColumn = startColumn+1;
	    				  currentNode = findShortestPathAStar(scanRows[index], scanColumns[index], startRow, startColumn);
	    			  }else if(dir == 3){
	    				  //I have an obstacle on the left
	    				  nodes[startRow][startColumn - 1].isObstacle = true;
	    				  obstacleRow = startRow;
	    				  obstacleColumn = startColumn - 1;
	    				  currentNode = findShortestPathAStar(scanRows[index], scanColumns[index], startRow, startColumn);
	    			  }
	    		  }else{
	    			  if(previousDir == 0){
	    				  //I have an obstacle above me
	    				  nodes[startRow+1][startColumn].isObstacle = true;
	    				  obstacleRow = startRow+1;
	    				  obstacleColumn = startColumn;
	    				  currentNode = findShortestPathAStar(scanRows[index], scanColumns[index], startRow, startColumn);
	    			  }else if(previousDir == 1){
	    				  //I have an obstacle under me
	    				  nodes[startRow-1][startColumn].isObstacle = true;
	    				  obstacleRow = startRow-1;
	    				  obstacleColumn = startColumn;
	    				  currentNode = findShortestPathAStar(scanRows[index], scanColumns[index], startRow, startColumn);
	    			  }else if(previousDir == 2){
	    				  //I have an obstacle on the right
	    				  nodes[startRow][startColumn + 1].isObstacle = true;
	    				  obstacleRow = startRow;
	    				  obstacleColumn = startColumn+1;
	    				  currentNode = findShortestPathAStar(scanRows[index], scanColumns[index], startRow, startColumn);
	    			  }else if(previousDir == 3){
	    				  //I have an obstacle on the left
	    				  nodes[startRow][startColumn - 1].isObstacle = true;
	    				  obstacleRow = startRow;
	    				  obstacleColumn = startColumn-1;
	    				  currentNode = findShortestPathAStar(scanRows[index], scanColumns[index], startRow, startColumn);
	    			  }
	    		  }

				  len = snprintf(buffer, sizeof(buffer), "position: (%d, %d), obstacle: (%d, %d)\n", startColumn, startRow, obstacleColumn, obstacleRow);
				  HAL_UART_Transmit(&huart6, (uint8_t*)buffer, len, HAL_MAX_DELAY);
	    		  stateScan = STATE_NORMAL;
	    		  break;

	    	  case STATE_FINISHED:
	    		  // Scan completed
	    		  state = 15;
	    		  break;

	    	  default:
	    		  len = snprintf(buffer, sizeof(buffer), "Error: State not recognized!\n");
	    		  HAL_UART_Transmit(&huart6, (uint8_t*)buffer, len, HAL_MAX_DELAY);
	    		  break;
	    	  }
	    	  break;
	      case 15:
	    	  findNode(current_position, &startRow, &startColumn);
	    	  Node* toWall = NULL;
	    	  if(!(startRow == rows-1 || startColumn == cols -1)){

				  toWall = findNearestWall(startRow, startColumn);
				  Node* results[2];
				  int index_wall = 0;

				  while (toWall){
					  results[index_wall] = toWall;
					  toWall = toWall->parent;
					  index_wall++;
				  }

				  previousDir = -2; // inesistent initial direction
				  if(index_wall > 1){
					  for(int i = index_wall-1; i>1; i--){
						  toWall = results[i];
						  len = snprintf(buffer, sizeof(buffer), "going to: (%d, %d)\n", toWall->column, toWall->row);
						  HAL_UART_Transmit(&huart6, (uint8_t*)buffer, len, HAL_MAX_DELAY);

						  dir = toWall->direction;

						  selectDirection(previousDir, dir, toWall);

						  toWall = toWall->parent;

						  previousDir = dir;
					  }
				  }

				  toWall = results[0];

				  // going in the perimeter
				  len = snprintf(buffer, sizeof(buffer), "going to: (%d, %d)\n", toWall->column, toWall->row);
				  HAL_UART_Transmit(&huart6, (uint8_t*)buffer, len, HAL_MAX_DELAY);
	    	  }else{
	    		  toWall = &nodes[startRow][startColumn];
	    	  }
			  double resultX, resultY = 0.0;
			  if(findPositionOnSegment(toWall->row, toWall->column, &resultX, &resultY)){
				  len = snprintf(buffer, sizeof(buffer), "poisition: (%d, %d)\n", (int) round(resultX), (int) round(resultY));
				  HAL_UART_Transmit(&huart6, (uint8_t*)buffer, len, HAL_MAX_DELAY);

				  //fai partire la funzione per arrivare nel punto preciso seguendo il perimetro
				  Point target = {round(resultX), round(resultY)};
				  moveToGoal(target);

				  backHome();
				  message = "back Home!\n";
				  HAL_UART_Transmit(&huart6, (uint8_t *)message, strlen(message), HAL_MAX_DELAY);
			  }else{
				  //outside the polygon, go to state 0
				  message = "point found outside the polygon, error!\n";
				  HAL_UART_Transmit(&huart6, (uint8_t *)message, strlen(message), HAL_MAX_DELAY);
			  }
			  freeNodes();
			  state = 0;
	    	  break;
	      default:
	    	  // code to execute if no cases match
	          break;
	  }
  }
  /* USER CODE END 3 */
}

void SystemClock_Config(void)
{
  RCC_OscInitTypeDef RCC_OscInitStruct = {0};
  RCC_ClkInitTypeDef RCC_ClkInitStruct = {0};

  /** Configure the main internal regulator output voltage
  */
  __HAL_RCC_PWR_CLK_ENABLE();
  __HAL_PWR_VOLTAGESCALING_CONFIG(PWR_REGULATOR_VOLTAGE_SCALE1);

  /** Initializes the RCC Oscillators according to the specified parameters
  * in the RCC_OscInitTypeDef structure.
  */
  RCC_OscInitStruct.OscillatorType = RCC_OSCILLATORTYPE_HSI;
  RCC_OscInitStruct.HSIState = RCC_HSI_ON;
  RCC_OscInitStruct.HSICalibrationValue = RCC_HSICALIBRATION_DEFAULT;
  RCC_OscInitStruct.PLL.PLLState = RCC_PLL_NONE;
  if (HAL_RCC_OscConfig(&RCC_OscInitStruct) != HAL_OK)
  {
    Error_Handler();
  }

  /** Initializes the CPU, AHB and APB buses clocks
  */
  RCC_ClkInitStruct.ClockType = RCC_CLOCKTYPE_HCLK|RCC_CLOCKTYPE_SYSCLK
                              |RCC_CLOCKTYPE_PCLK1|RCC_CLOCKTYPE_PCLK2;
  RCC_ClkInitStruct.SYSCLKSource = RCC_SYSCLKSOURCE_HSI;
  RCC_ClkInitStruct.AHBCLKDivider = RCC_SYSCLK_DIV1;
  RCC_ClkInitStruct.APB1CLKDivider = RCC_HCLK_DIV1;
  RCC_ClkInitStruct.APB2CLKDivider = RCC_HCLK_DIV1;

  if (HAL_RCC_ClockConfig(&RCC_ClkInitStruct, FLASH_LATENCY_0) != HAL_OK)
  {
    Error_Handler();
  }
}

static void MX_TIM2_Init(void)
{

  TIM_ClockConfigTypeDef sClockSourceConfig = {0};
  TIM_MasterConfigTypeDef sMasterConfig = {0};

  htim2.Instance = TIM2;
  htim2.Init.Prescaler = 3999;
  htim2.Init.CounterMode = TIM_COUNTERMODE_UP;
  htim2.Init.Period = 1;
  htim2.Init.ClockDivision = TIM_CLOCKDIVISION_DIV1;
  htim2.Init.AutoReloadPreload = TIM_AUTORELOAD_PRELOAD_DISABLE;
  if (HAL_TIM_Base_Init(&htim2) != HAL_OK)
  {
    Error_Handler();
  }
  sClockSourceConfig.ClockSource = TIM_CLOCKSOURCE_INTERNAL;
  if (HAL_TIM_ConfigClockSource(&htim2, &sClockSourceConfig) != HAL_OK)
  {
    Error_Handler();
  }
  sMasterConfig.MasterOutputTrigger = TIM_TRGO_RESET;
  sMasterConfig.MasterSlaveMode = TIM_MASTERSLAVEMODE_DISABLE;
  if (HAL_TIMEx_MasterConfigSynchronization(&htim2, &sMasterConfig) != HAL_OK)
  {
    Error_Handler();
  }

}

static void MX_USART6_UART_Init(void)
{

  huart6.Instance = USART6;
  huart6.Init.BaudRate = 115200;
  huart6.Init.WordLength = UART_WORDLENGTH_8B;
  huart6.Init.StopBits = UART_STOPBITS_1;
  huart6.Init.Parity = UART_PARITY_NONE;
  huart6.Init.Mode = UART_MODE_TX_RX;
  huart6.Init.HwFlowCtl = UART_HWCONTROL_NONE;
  huart6.Init.OverSampling = UART_OVERSAMPLING_16;
  if (HAL_UART_Init(&huart6) != HAL_OK)
  {
    Error_Handler();
  }

}

static void MX_GPIO_Init(void)
{
  GPIO_InitTypeDef GPIO_InitStruct = {0};

  /* GPIO Ports Clock Enable */
  __HAL_RCC_GPIOE_CLK_ENABLE();
  __HAL_RCC_GPIOB_CLK_ENABLE();
  __HAL_RCC_GPIOC_CLK_ENABLE();
  __HAL_RCC_GPIOD_CLK_ENABLE();

  /*Configure GPIO pin Output Level */
  HAL_GPIO_WritePin(GPIOE, ENABLE_RIGHT_Pin|ENABLE_LEFT_Pin, GPIO_PIN_RESET);

  /*Configure GPIO pin Output Level */
  HAL_GPIO_WritePin(GPIOD, DIR_RIGHT_Pin|DIR_LEFT_Pin|STEP_RIGHT_Pin, GPIO_PIN_RESET);

  /*Configure GPIO pin Output Level */
  HAL_GPIO_WritePin(STEP_LEFT_GPIO_Port, STEP_LEFT_Pin, GPIO_PIN_RESET);

  /*Configure GPIO pins : ENABLE_RIGHT_Pin ENABLE_LEFT_Pin */
  GPIO_InitStruct.Pin = ENABLE_RIGHT_Pin|ENABLE_LEFT_Pin;
  GPIO_InitStruct.Mode = GPIO_MODE_OUTPUT_PP;
  GPIO_InitStruct.Pull = GPIO_NOPULL;
  GPIO_InitStruct.Speed = GPIO_SPEED_FREQ_LOW;
  HAL_GPIO_Init(GPIOE, &GPIO_InitStruct);

  /*Configure GPIO pin : PB0 */
  GPIO_InitStruct.Pin = GPIO_PIN_0;
  GPIO_InitStruct.Mode = GPIO_MODE_IT_RISING_FALLING;
  GPIO_InitStruct.Pull = GPIO_NOPULL;
  HAL_GPIO_Init(GPIOB, &GPIO_InitStruct);

  /*Configure GPIO pins : DIR_RIGHT_Pin DIR_LEFT_Pin STEP_RIGHT_Pin */
  GPIO_InitStruct.Pin = DIR_RIGHT_Pin|DIR_LEFT_Pin|STEP_RIGHT_Pin;
  GPIO_InitStruct.Mode = GPIO_MODE_OUTPUT_PP;
  GPIO_InitStruct.Pull = GPIO_NOPULL;
  GPIO_InitStruct.Speed = GPIO_SPEED_FREQ_LOW;
  HAL_GPIO_Init(GPIOD, &GPIO_InitStruct);

  /*Configure GPIO pin : STEP_LEFT_Pin */
  GPIO_InitStruct.Pin = STEP_LEFT_Pin;
  GPIO_InitStruct.Mode = GPIO_MODE_OUTPUT_PP;
  GPIO_InitStruct.Pull = GPIO_NOPULL;
  GPIO_InitStruct.Speed = GPIO_SPEED_FREQ_LOW;
  HAL_GPIO_Init(STEP_LEFT_GPIO_Port, &GPIO_InitStruct);

  /* EXTI interrupt init*/
  HAL_NVIC_SetPriority(EXTI0_IRQn, 0, 0);
  HAL_NVIC_EnableIRQ(EXTI0_IRQn);

}

void Error_Handler(void)
{
  __disable_irq();
  while (1)
  {
  }
}
